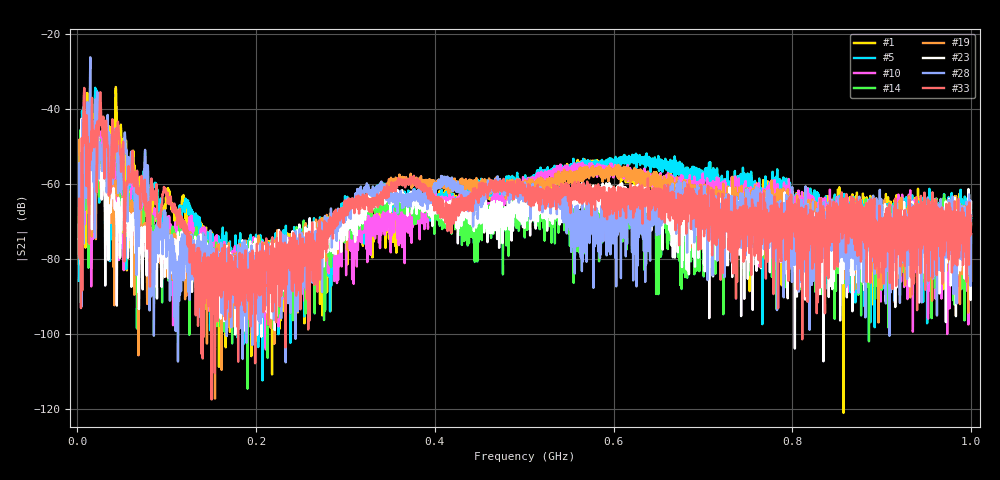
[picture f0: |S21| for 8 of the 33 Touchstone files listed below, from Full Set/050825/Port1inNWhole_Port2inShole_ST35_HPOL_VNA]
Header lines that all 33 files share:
!Keysight Technologies N9923A: A.12.45
!Timezone: (UTC+08:00) Kuala Lumpur, Singapore
!Model: N9923A
!Serial: MY61181427
!GPS Latitude:
!GPS Longitude:
!GPS TimeStamp: 0001-01-01 00:00:00Z
!GPS Seconds Since Last Read: 0
!Correction: S11(ON U)S21(ON U)S12(ON U)S22(ON U)
!S2P File: Measurements:S11,S21,S12,S22:
# Hz S DB R 50
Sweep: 2 MHz to 1 GHz
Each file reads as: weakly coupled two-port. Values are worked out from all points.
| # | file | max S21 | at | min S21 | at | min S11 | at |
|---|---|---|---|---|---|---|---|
| 1 | Aug4_hpol_down_5m.s2p | -34.17 dB | 43.17 MHz | -121.0 dB | 857.3 MHz | -17.7 dB | 798.7 MHz |
| 2 | Aug4_hpol_down_6m.s2p | -31.10 dB | 20.96 MHz | -109.1 dB | 962.8 MHz | -17.9 dB | 798.7 MHz |
| 3 | Aug4_hpol_down_9m.s2p | -36.76 dB | 17.72 MHz | -113.8 dB | 258.2 MHz | -16.6 dB | 798.7 MHz |
| 4 | Aug4_hpol_down_11m.s2p | -32.23 dB | 14.23 MHz | -104.3 dB | 174.2 MHz | -17.1 dB | 798.7 MHz |
| 5 | Aug4_hpol_down_12m.s2p | -34.40 dB | 20.21 MHz | -112.3 dB | 207.3 MHz | -19.0 dB | 798.7 MHz |
| 6 | Aug4_hpol_down_14m.s2p | -38.77 dB | 5.742 MHz | -105.0 dB | 238.8 MHz | -19.4 dB | 798.7 MHz |
| 7 | Aug4_hpol_down_16m.s2p | -43.18 dB | 5.493 MHz | -107.0 dB | 928.9 MHz | -19.7 dB | 798.7 MHz |
| 8 | Aug4_hpol_down_17m.s2p | -41.08 dB | 14.47 MHz | -116.3 dB | 222.6 MHz | -18.0 dB | 798.7 MHz |
| 9 | Aug4_hpol_down_20m.s2p | -40.46 dB | 18.47 MHz | -112.4 dB | 182.4 MHz | -17.3 dB | 798.7 MHz |
| 10 | Aug4_hpol_down_21m.s2p | -40.90 dB | 22.96 MHz | -104.1 dB | 211.1 MHz | -17.1 dB | 798.7 MHz |
| 11 | Aug4_hpol_down_22m.s2p | -43.40 dB | 24.21 MHz | -104.7 dB | 160.7 MHz | -17.2 dB | 798.7 MHz |
| 12 | Aug4_hpol_down_26m.s2p | -40.76 dB | 17.97 MHz | -111.5 dB | 854.3 MHz | -18.7 dB | 796.9 MHz |
| 13 | Aug4_hpol_down_27m.s2p | -38.02 dB | 17.97 MHz | -115.0 dB | 153.9 MHz | -19.1 dB | 796.9 MHz |
| 14 | Aug4_hpol_down_28m.s2p | -38.04 dB | 21.46 MHz | -114.6 dB | 190.6 MHz | -19.7 dB | 796.9 MHz |
| 15 | Aug4_hpol_down_31m.s2p | -38.82 dB | 23.96 MHz | -119.1 dB | 177.9 MHz | -20.3 dB | 796.9 MHz |
| 16 | Aug4_hpol_down_32m.s2p | -40.26 dB | 23.96 MHz | -107.8 dB | 226.3 MHz | -24.0 dB | 796.9 MHz |
| 17 | Aug4_hpol_down_35m.s2p | -40.21 dB | 21.46 MHz | -108.1 dB | 184.6 MHz | -24.3 dB | 796.9 MHz |
| 18 | Aug4_hpol_down_36m.s2p | -41.58 dB | 8.487 MHz | -109.7 dB | 179.9 MHz | -24.9 dB | 796.9 MHz |
| 19 | Aug4_hpol_down_37m.s2p | -41.49 dB | 8.487 MHz | -117.2 dB | 154.2 MHz | -23.9 dB | 796.9 MHz |
| 20 | Aug4_hpol_down_38m.s2p | -42.16 dB | 8.238 MHz | -114.7 dB | 171.7 MHz | -20.1 dB | 796.9 MHz |
| 21 | Aug4_hpol_down_40m.s2p | -43.37 dB | 17.97 MHz | -112.2 dB | 157.7 MHz | -20.2 dB | 796.9 MHz |
| 22 | Aug4_hpol_down_42m.s2p | -42.11 dB | 4.994 MHz | -105.5 dB | 215.8 MHz | -20.5 dB | 796.9 MHz |
| 23 | Aug4_hpol_down_45m.s2p | -42.59 dB | 4.994 MHz | -107.2 dB | 834.8 MHz | -20.9 dB | 796.9 MHz |
| 24 | Aug4_hpol_down_46m.s2p | -43.89 dB | 14.47 MHz | -117.8 dB | 170.9 MHz | -21.1 dB | 796.9 MHz |
| 25 | Aug4_hpol_down_47m.s2p | -45.50 dB | 14.47 MHz | -106.8 dB | 189.6 MHz | -21.3 dB | 796.9 MHz |
| 26 | Aug4_hpol_down_51m.s2p | -44.39 dB | 15.22 MHz | -116.0 dB | 734 MHz | -21.7 dB | 796.9 MHz |
| 27 | Aug4_hpol_up_0m.s2p | -27.12 dB | 14.47 MHz | -108.7 dB | 398.7 MHz | -24.4 dB | 814.1 MHz |
| 28 | Aug4_hpol_up_1m.s2p | -26.26 dB | 14.72 MHz | -107.5 dB | 233.3 MHz | -23.9 dB | 814.1 MHz |
| 29 | Aug4_hpol_up_2m.s2p | -29.73 dB | 22.96 MHz | -115.9 dB | 116.3 MHz | -24.0 dB | 800.6 MHz |
| 30 | Aug4_hpol_up_3m.s2p | -29.17 dB | 14.23 MHz | -104.1 dB | 161.7 MHz | -28.7 dB | 800.6 MHz |
| 31 | Aug4_hpol_up_5m.s2p | -36.30 dB | 13.98 MHz | -115.1 dB | 155.4 MHz | -27.4 dB | 800.6 MHz |
| 32 | Aug4_hpol_up_8m.s2p | -33.42 dB | 8.238 MHz | -103.3 dB | 209.6 MHz | -28.0 dB | 798.9 MHz |
| 33 | Aug4_hpol_up_9m.s2p | -34.42 dB | 7.988 MHz | -117.4 dB | 150.5 MHz | -28.4 dB | 798.9 MHz |
